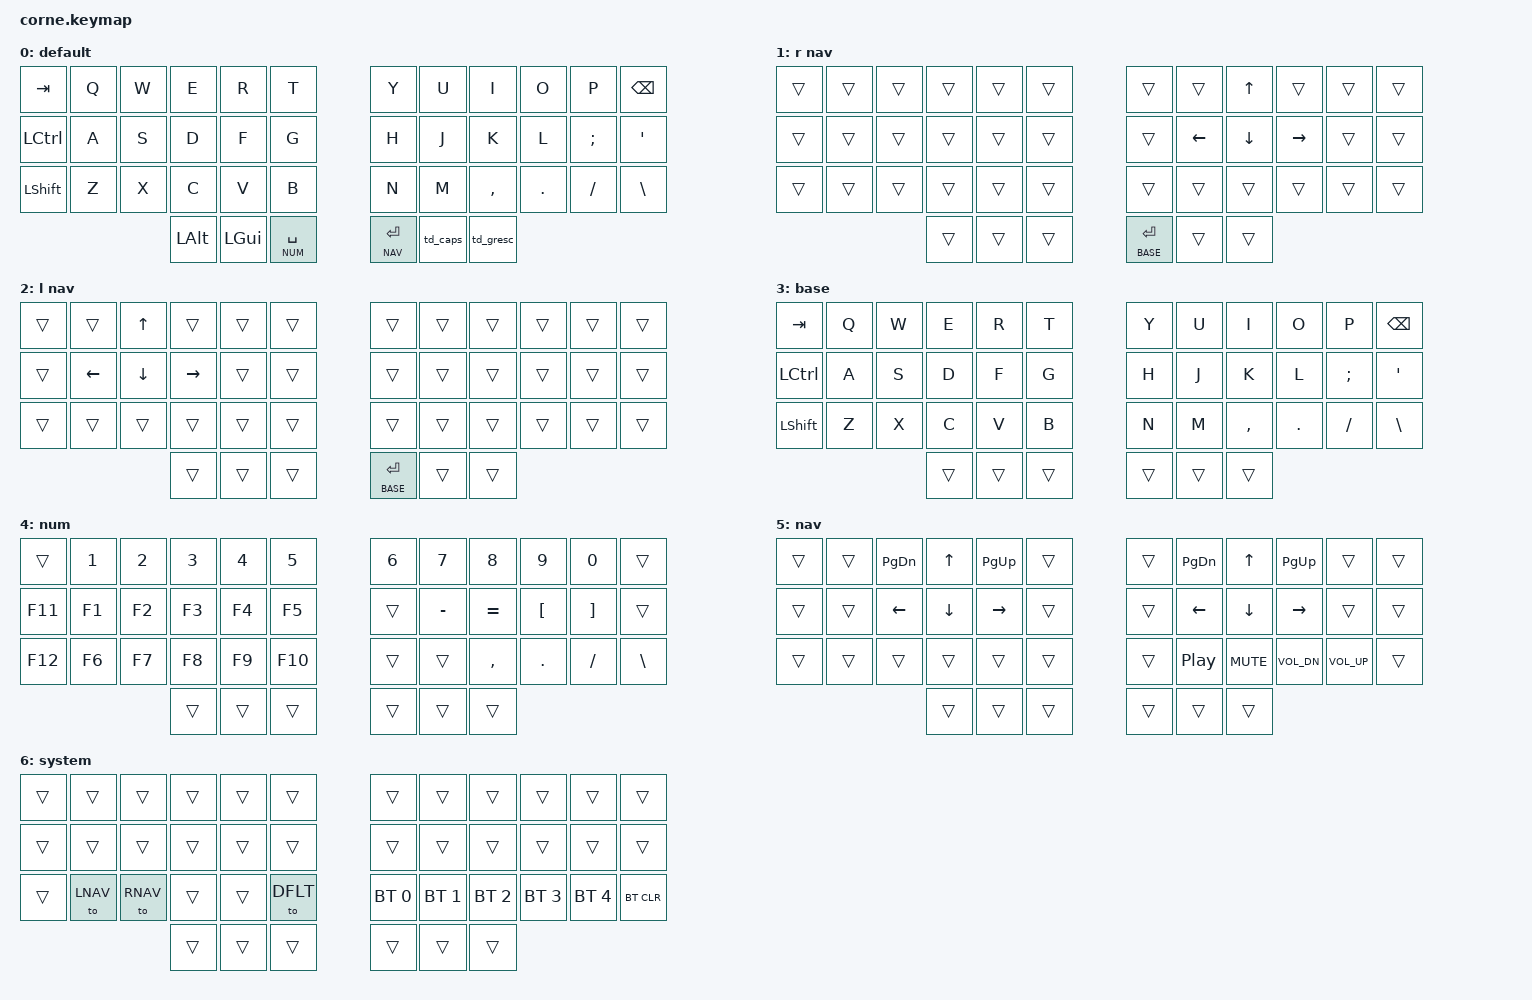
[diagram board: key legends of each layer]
/*
 * Copyright (c) 2020 The ZMK Contributors
 *
 * SPDX-License-Identifier: MIT
 */

#include <behaviors.dtsi>
#include <dt-bindings/zmk/bt.h>
#include <dt-bindings/zmk/keys.h>

// Higher number layers take precedence and override below
#define DFLT 0

// Custom layers (i.e. task specific)
#define RNAV 1
#define LNAV 2

// Base layers which should always be accessible (i.e. num, nav, sys)
#define BASE 3 // same as DFLT except for thumbs, used to override DFLT keys onto custom layers
#define NUM 4 // numbers layer - numbers, symbols, function keys
#define NAV 5 // navigation layer - arrow keys, media controls
#define SYS 6 // system layer - toggle layer, bt controls

/ {

    conditional_layers {
        compatible = "zmk,conditional-layers";

        // num + nav = sys
        num_nav_sys_layer {
            if-layers = <NUM NAV>;
            then-layer = <SYS>;
        };

        // num + base = sys
        num_base_sys_layer {
            if-layers = <NUM BASE>;
            then-layer = <SYS>;
        };
    };

    // Tap Dance
    behaviors {
        // double-tap LSHIFT to turn on CAPS WORD
        td_caps: td_caps_word {
            compatible = "zmk,behavior-tap-dance";
            label = "CAPDANCE";
            #binding-cells = <0>;
            tapping-term-ms = <175>;
            bindings = <&kp LSHFT>, <&caps_word>;
        };
        // double-tap ` to ESC
        td_gresc: tap_dance_gresc {
            compatible = "zmk,behavior-tap-dance";
            #binding-cells = <0>;
            tapping-term-ms = <175>;
            bindings = <&kp GRAVE>, <&kp ESC>;
        };

    };

    combos {
        compatible = "zmk,combos";
        // tab q = ESC
        esc {
            timeout-ms = <25>;
            key-positions = <0 1>;
            bindings = <&kp ESC>;
        };

        // p bksp = DEL
        del {
            timeout-ms = <25>;
            key-positions = <10 11>;
            bindings = <&kp DEL>;
        };

        // qe = ALT+F4
        altf4 {
            timeout-ms = <25>;
            key-positions = <1 3>;
            bindings = <&kp LA(F4)>;
        };


        // io = (
        lpar {
            timeout-ms = <25>;
            key-positions = <8 9>;
            bindings = <&kp LPAR>;
        };
        // op = )
        rpar {
            timeout-ms = <25>;
            key-positions = <9 10>;
            bindings = <&kp RPAR>;
        };

        // kl = [
        lbkt {
            timeout-ms = <25>;
            key-positions = <20 21>;
            bindings = <&kp LBKT>;
        };
        // l; = ]
        rbkt {
            timeout-ms = <25>;
            key-positions = <21 22>;
            bindings = <&kp RBKT>;
        };

        // ,. = {
        lbrc {
            timeout-ms = <25>;
            key-positions = <32 33>;
            bindings = <&kp LBRC>;
        };
        // ./ = }
        rbrc {
            timeout-ms = <25>;
            key-positions = <33 34>;
            bindings = <&kp RBRC>;
        };

    };

    keymap {
        compatible = "zmk,keymap";

        // default layer

        dflt {
            label = "default";
            // ------------------------------------------------------------------------------------------
            // |      TAB|  Q  |  W  |  E  |  R  |  T  |        |  Y  |  U  |  I  |  O  |  P  | BSPC    |
            // |    LCTRL|  A  |  S  |  D  |  F  |  G  |        |  H  |  J  |  K  |  L  |  ;  |  '      |
            // |    LSHFT|  Z  |  X  |  C  |  V  |  B  |        |  N  |  M  |  ,  |  .  |  /  |  \      |
            //                 | LALT | LGUI | NUM SPC |        | NAV ENT | SHFT CAPS | ` ESC |
            bindings = <
                &kp TAB    &kp Q  &kp W  &kp E  &kp R  &kp T        &kp Y  &kp U  &kp I      &kp O    &kp P     &kp BSPC
                &kp LCTRL  &kp A  &kp S  &kp D  &kp F  &kp G        &kp H  &kp J  &kp K      &kp L    &kp SEMI  &kp SQT
                &kp LSHFT  &kp Z  &kp X  &kp C  &kp V  &kp B        &kp N  &kp M  &kp COMMA  &kp DOT  &kp FSLH  &kp BSLH
                           &kp LALT  &kp LGUI  &lt NUM SPACE        &lt NAV RET  &td_caps  &td_gresc
            >;
        };

        // custom layers


        rnav {
            label = "r nav";
            // -----------------------------------------------------------------------------------------
            // |         |     |     |     |     |     |        |     |     | UP  |     |     |        |
            // |         |     |     |     |     |     |        |     | LFT | DWN | RGT |     |        |      
            // |         |     |     |     |     |     |        |     |     |     |     |     |        |
            //                       |     |     |     |        |     |     |     |
            bindings = <
                &trans  &trans  &trans  &trans  &trans  &trans        &trans  &trans    &kp UP    &trans     &trans  &trans
                &trans  &trans  &trans  &trans  &trans  &trans        &trans  &kp LEFT  &kp DOWN  &kp RIGHT  &trans  &trans
                &trans  &trans  &trans  &trans  &trans  &trans        &trans  &trans    &trans    &trans     &trans  &trans
                                        &trans  &trans  &trans        &lt BASE RET  &trans  &trans
            >;
        };

        lnav {
            label = "l nav";
            // -----------------------------------------------------------------------------------------
            // |         |     | UP  |     |     |     |        |     |     |     |     |     |        |
            // |         | LFT | DWN | RGT |     |     |        |     |     |     |     |     |        |      
            // |         |     |     |     |     |     |        |     |     |     |     |     |        |
            //                       |     |     |     |        |     |     |     |
            bindings = <
                &trans  &trans    &kp UP    &trans     &trans  &trans        &trans  &trans  &trans  &trans  &trans  &trans
                &trans  &kp LEFT  &kp DOWN  &kp RIGHT  &trans  &trans        &trans  &trans  &trans  &trans  &trans  &trans
                &trans  &trans    &trans    &trans     &trans  &trans        &trans  &trans  &trans  &trans  &trans  &trans
                                            &trans     &trans  &trans        &lt BASE RET  &trans  &trans
            >;
        };

        // base layers

        base {
            label = "base";
            // ------------------------------------------------------------------------------------------
            // |      TAB|  Q  |  W  |  E  |  R  |  T  |        |  Y  |  U  |  I  |  O  |  P  | BSPC    |
            // |    LCTRL|  A  |  S  |  D  |  F  |  G  |        |  H  |  J  |  K  |  L  |  ;  |  '      |
            // |    LSHFT|  Z  |  X  |  C  |  V  |  B  |        |  N  |  M  |  ,  |  .  |  /  |  \      |
            //                 | LALT | LGUI | NUM SPC |        | NAV ENT | SHFT CAPS | ` ESC |
            bindings = <
                &kp TAB       &kp Q  &kp W  &kp E  &kp R  &kp T        &kp Y  &kp U  &kp I      &kp O    &kp P     &kp BSPC
                &kp LCTRL     &kp A  &kp S  &kp D  &kp F  &kp G        &kp H  &kp J  &kp K      &kp L    &kp SEMI  &kp SQT
                &kp LSHFT     &kp Z  &kp X  &kp C  &kp V  &kp B        &kp N  &kp M  &kp COMMA  &kp DOT  &kp FSLH  &kp BSLH
                                         &trans  &trans  &trans        &trans  &trans  &trans
            >;
        };

        num {
            label = "num";
            // -----------------------------------------------------------------------------------------
            // |         |  1! |  2@ |  3# |  4$ |  5% |        |  6^ |  7& |  8* |  9( |  0) |     |
            // |   F11   | F1  | F2  | F3  | F4  | F5  |        |     |  -_ |  =+ |  [{ |  ]} |  '" |
            // |   F12   | F6  | F7  | F8  | F9  | F10 |        |     |     |  ,< |  .> |  /? |  \| |
            //                       |     |     |     |        |     |     |     |
            bindings = <
                &trans  &kp N1    &kp N2  &kp N3    &kp N4    &kp N5          &kp N6   &kp N7     &kp N8     &kp N9    &kp N0    &trans
                &kp F11 &kp F1    &kp F2  &kp F3    &kp F4    &kp F5          &trans   &kp MINUS  &kp EQUAL  &kp LBKT  &kp RBKT  &trans 
                &kp F12 &kp F6    &kp F7  &kp F8    &kp F9    &kp F10         &trans   &trans     &kp COMMA  &kp DOT   &kp FSLH  &kp BSLH
                                          &trans    &trans    &trans          &trans   &trans     &trans
            >;
        };

        nav {
            label = "nav";
            // -----------------------------------------------------------------------------------------
            // |         |     |PG_DN| UP  |PG_UP|     |        |     |PG_DN| UP  |PG_UP|     |      |
            // |         |     | LFT | DWN | RGT |     |        |     | LFT | DWN | RGT |     |      |
            // |         |     |     |     |     |     |        |     |  PP |MUTE |VOLDN|VOLUP|      |
            //                       |     |     |     |        |     |     |     |
            bindings = <
                &trans  &trans  &kp PG_DN  &kp UP    &kp PG_UP  &trans      &trans  &kp PG_DN  &kp UP      &kp PG_UP     &trans        &trans
                &trans  &trans  &kp LEFT   &kp DOWN  &kp RIGHT  &trans      &trans  &kp LEFT   &kp DOWN    &kp RIGHT     &trans        &trans
                &trans  &trans  &trans     &trans    &trans     &trans      &trans  &kp C_PP   &kp C_MUTE  &kp C_VOL_DN  &kp C_VOL_UP  &trans
                                                &trans  &trans  &trans      &trans  &trans  &trans
            >;
        };

        sys {
            label = "system";
            // -----------------------------------------------------------------------------------------
            // |         |     |     |     |     |     |        |     |     |     |     |     |        |  
            // |         |     |     |     |     |     |        |     |     |     |     |     |        |      
            // |         |LNAVI|RNAVI|     |     | DFLT|        | BT1 | BT2 | BT3 | BT4 | BT5 | BT_CLR |
            //                       |     |     |     |        |     |     |     |
            bindings = <
                &trans  &trans     &trans     &trans  &trans  &trans        &trans        &trans        &trans        &trans        &trans        &trans
                &trans  &trans     &trans     &trans  &trans  &trans        &trans        &trans        &trans        &trans        &trans        &trans
                &trans  &to LNAV   &to RNAV   &trans  &trans  &to DFLT      &bt BT_SEL 0  &bt BT_SEL 1  &bt BT_SEL 2  &bt BT_SEL 3  &bt BT_SEL 4  &bt BT_CLR
                                              &trans  &trans  &trans        &trans  &trans  &trans
            >;
        };


    
    };
};
